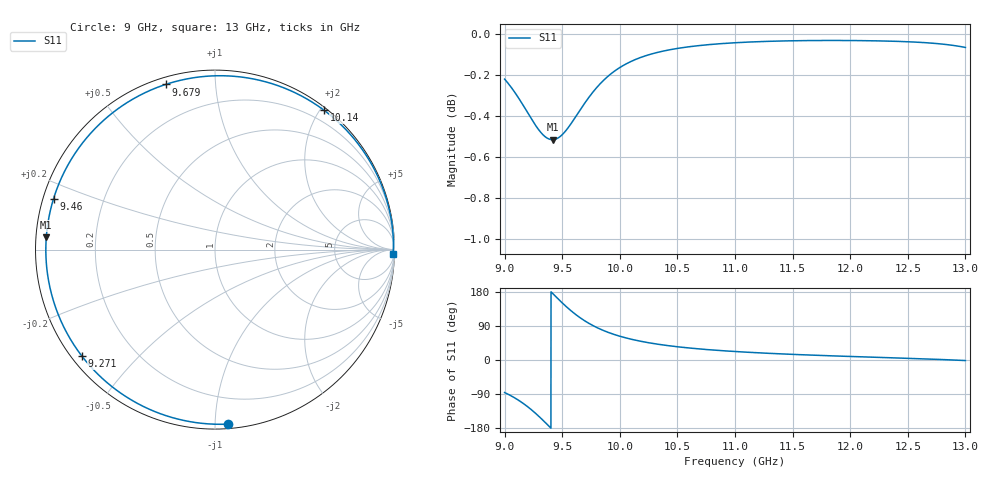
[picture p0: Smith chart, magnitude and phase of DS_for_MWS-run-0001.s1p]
! TOUCHSTONE file generated by CST DESIGN STUDIO
! Date and time: Tue Feb  4 14:20:45 2025
! Project name: C:\Work\MatlabApps\UnitCellOptimizationMatlab\CST\unitcell.cst
! Tree item: Tasks\Sweep1\SPara1\S-Parameters
! Header version: 2024
! Port assignment regex: !\s*Touchstone port\s*([0-9]+)\s*=\s*(CST MWS port|CST DES external port|CST DES block port)\s*(.+)\s* \(\"(.*)\"\)(\s*mode\s*([0-9]+))?.*
! Touchstone port assignment:
! Touchstone port 1 = CST DES external port 1 ("")
# GHz S MA R 50
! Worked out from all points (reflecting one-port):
!   4001 points, 9 GHz to 13 GHz, reference 50 ohm
!   lowest |S11| = -0.5 dB at 9.416 GHz (marker M1), VSWR 33.75, Z = 1.48 + j1.79 ohm
!   phase of S11 starts at -86 deg and turns -276 deg over the sweep
!   S11 on the Smith chart (normalised r, x): 9 GHz: 0.03, -1.07; 9.271 GHz: 0.03, -0.35; 9.46 GHz: 0.03, +0.15; 9.679 GHz: 0.03, +0.74; 10.14 GHz: 0.04, +2.05; 13 GHz: 23, -73
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9  0.9749 -85.9
9.081  0.9684 -98.8
9.149  0.962 -111.9
9.211  0.9557 -125.9
9.271  0.9498 -141.3
9.311  0.9465 -152.6
9.348  0.9442 -163.4
9.382  0.9429 -173.7
9.416  0.9424 175.9
9.46  0.9432 162.5
9.5  0.9451 150.8
9.545  0.9483 138.2
9.588  0.9519 127.1
9.632  0.956 116.7
9.679  0.9604 106.7
9.75  0.9666 93.6
9.835  0.9728 80.8
9.915  0.9774 71.1
10  0.9813 62.7
10.14  0.9858 52.0
10.303  0.9892 42.9
10.5  0.9918 34.9
10.723  0.9936 28.4
11  0.995 22.4
11.5  0.9961 14.8
12  0.9962 9.3
12.5  0.9955 4.4
13  0.9924 -1.4
